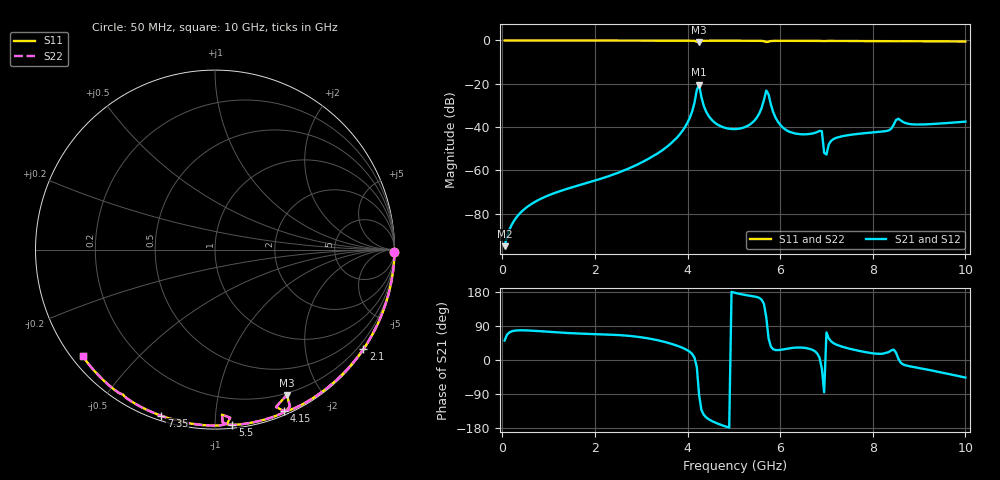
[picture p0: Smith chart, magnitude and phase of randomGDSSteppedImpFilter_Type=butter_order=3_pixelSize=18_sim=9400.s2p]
! freq	dB(S11)	phase(S11)	dB(S12)	phase(S12)
!  dB(S21)	phase(S21)	dB(S22)	phase(S22)
!S-par simulation data
#  GHz  S  DB  R 50
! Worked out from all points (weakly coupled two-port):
!   200 points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, 50 MHz to 10 GHz, reference 50 ohm
!   highest |S21| = -20.40 dB at 4.25 GHz (marker M1); lowest = -94.9 dB at 50 MHz (marker M2)
!   lowest |S11| = -0.9 dB at 4.25 GHz (marker M3), VSWR 19.60, Z = 9.11 - j79.8 ohm
!   |S11| at or under -10 dB: nowhere
!   |S22| runs from -0.9 to 0.0 dB; largest |S21 - S12| = 0
!   S11 on the Smith chart (normalised r, x): 50 MHz: open; 2.1 GHz: 0.03, -3.29; 4.15 GHz: 0.04, -1.51; 5.5 GHz: 0.02, -1.10; 7.35 GHz: 0.02, -0.73; 10 GHz: 0.03, -0.35
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0.05  -0.00 -0.8  -94.94 51.4  -94.94 51.4  -0.00 -0.8
1.75  -0.04 -28.3  -66.23 69.4  -66.23 69.4  -0.04 -28.3
2.1  -0.04 -33.8  -64.00 67.9  -64.00 67.9  -0.04 -33.8
3.4  -0.07 -53.9  -51.47 50.9  -51.47 50.9  -0.07 -53.9
3.9  -0.09 -61.7  -41.43 31.7  -41.43 31.7  -0.09 -61.7
4.15  -0.20 -66.9  -28.75 6.3  -28.75 6.3  -0.20 -66.9
4.25  -0.89 -63.7  -20.40 -92.4  -20.40 -92.4  -0.89 -63.7
4.35  -0.17 -66.0  -30.15 -144.5  -30.15 -144.5  -0.17 -66.0
4.5  -0.12 -69.1  -36.08 -159.4  -36.08 -159.4  -0.12 -69.1
5.05  -0.12 -77.5  -40.87 176.5  -40.87 176.5  -0.12 -77.5
5.5  -0.16 -84.3  -35.48 166.2  -35.48 166.2  -0.16 -84.3
5.7  -0.72 -87.6  -23.10 112.7  -23.10 112.7  -0.72 -87.6
6.05  -0.17 -90.5  -40.02 27.7  -40.02 27.7  -0.17 -90.5
6.7  -0.20 -99.5  -42.94 26.7  -42.94 26.7  -0.20 -99.5
6.9  -0.26 -102.3  -41.83 -22.4  -41.83 -22.4  -0.26 -102.3
6.95  -0.27 -102.5  -51.87 -85.4  -51.87 -85.4  -0.28 -102.5
7  -0.23 -103.1  -52.65 72.6  -52.65 72.6  -0.23 -103.1
7.1  -0.22 -104.6  -46.34 49.3  -46.34 49.3  -0.22 -104.5
7.35  -0.24 -107.9  -44.15 34.7  -44.15 34.7  -0.24 -107.9
8.35  -0.33 -120.7  -41.49 21.4  -41.49 21.4  -0.33 -120.7
8.55  -0.37 -122.8  -36.14 4.0  -36.14 4.0  -0.37 -122.8
10  -0.47 -141.1  -37.46 -46.2  -37.46 -46.2  -0.47 -141.1
